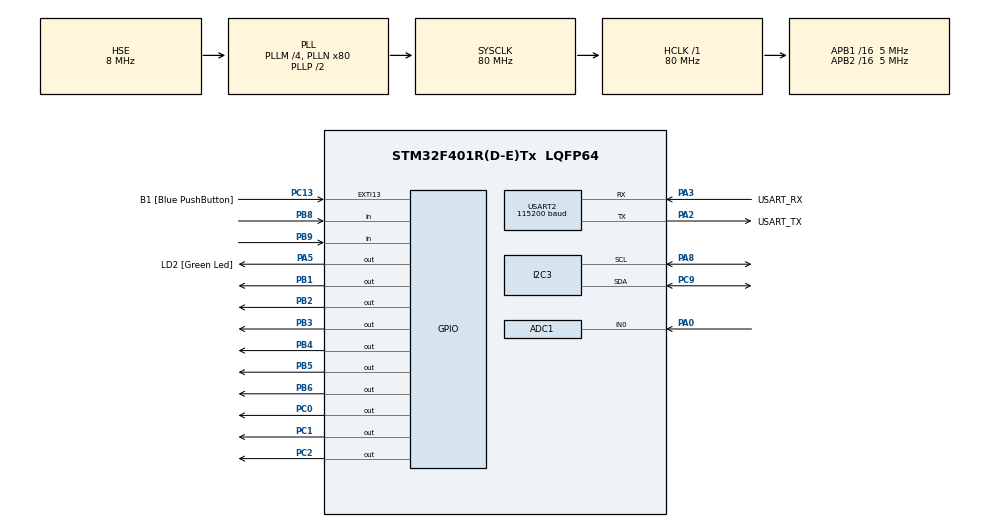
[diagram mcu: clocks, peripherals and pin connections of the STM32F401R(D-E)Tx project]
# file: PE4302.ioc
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ADC1.Channel-0\#ChannelRegularConversion=ADC_CHANNEL_0
ADC1.NbrOfConversionFlag=1
ADC1.Rank-0\#ChannelRegularConversion=1
ADC1.SamplingTime-0\#ChannelRegularConversion=ADC_SAMPLETIME_3CYCLES
ADC1.master=1
Mcu.Family=STM32F4
Mcu.Name=STM32F401R(D-E)Tx
Mcu.Package=LQFP64
NVIC.PriorityGroup=NVIC_PRIORITYGROUP_0
NVIC.TIM3_IRQn=true\:0\:0\:false\:false\:true\:true\:true\:true
PA0-WKUP.Signal=ADCx_IN0
PA13.GPIO_Label=TMS
PA13.Mode=Serial_Wire
PA13.Signal=SYS_JTMS-SWDIO
PA14.GPIO_Label=TCK
PA14.Mode=Serial_Wire
PA14.Signal=SYS_JTCK-SWCLK
PA2.GPIO_Label=USART_TX
PA2.GPIO_Mode=GPIO_MODE_AF_PP
PA2.GPIO_PuPd=GPIO_NOPULL
PA2.GPIO_Speed=GPIO_SPEED_FREQ_LOW
PA2.Mode=Asynchronous
PA2.Signal=USART2_TX
PA3.GPIO_Label=USART_RX
PA3.GPIO_Mode=GPIO_MODE_AF_PP
PA3.GPIO_PuPd=GPIO_NOPULL
PA3.GPIO_Speed=GPIO_SPEED_FREQ_LOW
PA3.Mode=Asynchronous
PA3.Signal=USART2_RX
PA5.GPIO_Label=LD2 [Green Led]
PA5.GPIO_Mode=GPIO_MODE_OUTPUT_PP
PA5.GPIO_PuPd=GPIO_NOPULL
PA5.GPIO_Speed=GPIO_SPEED_FREQ_LOW
PA5.Signal=GPIO_Output
PA8.Mode=I2C
PA8.Signal=I2C3_SCL
PB1.GPIO_ModeDefaultOutputPP=GPIO_MODE_OUTPUT_PP
PB1.GPIO_PuPd=GPIO_NOPULL
PB1.PinState=GPIO_PIN_SET
PB1.Signal=GPIO_Output
PB2.GPIO_ModeDefaultOutputPP=GPIO_MODE_OUTPUT_PP
PB2.GPIO_PuPd=GPIO_NOPULL
PB2.PinState=GPIO_PIN_SET
PB2.Signal=GPIO_Output
PB3.GPIO_ModeDefaultOutputPP=GPIO_MODE_OUTPUT_PP
PB3.GPIO_PuPd=GPIO_NOPULL
PB3.Signal=GPIO_Output
PB4.GPIO_ModeDefaultOutputPP=GPIO_MODE_OUTPUT_PP
PB4.GPIO_PuPd=GPIO_NOPULL
PB4.Signal=GPIO_Output
PB5.GPIO_ModeDefaultOutputPP=GPIO_MODE_OUTPUT_PP
PB5.GPIO_PuPd=GPIO_NOPULL
PB5.Signal=GPIO_Output
PB6.GPIO_ModeDefaultOutputPP=GPIO_MODE_OUTPUT_PP
PB6.GPIO_PuPd=GPIO_NOPULL
PB6.Signal=GPIO_Output
PB8.GPIO_PuPd=GPIO_PULLUP
PB8.Signal=GPIO_Input
PB9.GPIO_PuPd=GPIO_PULLUP
PB9.Signal=GPIO_Input
PC0.GPIO_ModeDefaultOutputPP=GPIO_MODE_OUTPUT_PP
PC0.GPIO_PuPd=GPIO_NOPULL
PC0.Signal=GPIO_Output
PC1.GPIO_ModeDefaultOutputPP=GPIO_MODE_OUTPUT_PP
PC1.GPIO_PuPd=GPIO_NOPULL
PC1.Signal=GPIO_Output
PC13-ANTI_TAMP.GPIO_Label=B1 [Blue PushButton]
PC13-ANTI_TAMP.GPIO_ModeDefaultEXTI=GPIO_MODE_IT_FALLING
PC13-ANTI_TAMP.GPIO_PuPd=GPIO_NOPULL
PC13-ANTI_TAMP.Signal=GPXTI13
PC14-OSC32_IN.Mode=LSE-External-Oscillator
PC14-OSC32_IN.Signal=RCC_OSC32_IN
PC15-OSC32_OUT.Mode=LSE-External-Oscillator
PC15-OSC32_OUT.Signal=RCC_OSC32_OUT
PC2.GPIO_ModeDefaultOutputPP=GPIO_MODE_OUTPUT_PP
PC2.GPIO_PuPd=GPIO_NOPULL
PC2.Signal=GPIO_Output
PC9.Mode=I2C
PC9.Signal=I2C3_SDA
PH0\ -\ OSC_IN.Mode=HSE-External-Clock-Source
PH0\ -\ OSC_IN.Signal=RCC_OSC_IN
PH1\ -\ OSC_OUT.Mode=HSE-External-Clock-Source
PH1\ -\ OSC_OUT.Signal=RCC_OSC_OUT
ProjectManager.HeapSize=0x200
ProjectManager.StackSize=0x400
ProjectManager.TargetToolchain=STM32CubeIDE
RCC.48MHZClocksFreq_Value=22857142.85714286
RCC.AHBFreq_Value=80000000
RCC.APB1CLKDivider=RCC_HCLK_DIV16
RCC.APB1Freq_Value=5000000
RCC.APB1TimFreq_Value=10000000
RCC.APB2CLKDivider=RCC_HCLK_DIV16
RCC.APB2Freq_Value=5000000
RCC.APB2TimFreq_Value=10000000
RCC.CortexFreq_Value=80000000
RCC.HCLKFreq_Value=80000000
RCC.HSE_VALUE=8000000
RCC.HSI_VALUE=16000000
RCC.PLLM=4
RCC.PLLN=80
RCC.PLLQ=7
RCC.PLLSourceVirtual=RCC_PLLSOURCE_HSE
RCC.SYSCLKFreq_VALUE=80000000
RCC.SYSCLKSource=RCC_SYSCLKSOURCE_PLLCLK
RCC.VCOOutputFreq_Value=160000000
SH.ADCx_IN0.0=ADC1_IN0,IN0
TIM3.AutoReloadPreload=TIM_AUTORELOAD_PRELOAD_ENABLE
TIM3.Period=100-1
TIM3.Prescaler=100
USART2.BaudRate=115200
USART2.VirtualMode=VM_ASYNC
VP_TIM3_VS_ClockSourceINT.Mode=Internal
board=NUCLEO-F401RE

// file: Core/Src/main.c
/* USER CODE BEGIN Header */
/**
  ******************************************************************************
  * @file           : main.c
  * @brief          : Main program body
  ******************************************************************************
  * @attention
  *
  * Copyright (c) 2025 STMicroelectronics.
  * All rights reserved.
  *
  * This software is licensed under terms that can be found in the LICENSE file
  * in the root directory of this software component.
  * If no LICENSE file comes with this software, it is provided AS-IS.
  *
  ******************************************************************************
  */
/* USER CODE END Header */
#include "main.h"
#include <string.h>
#include "si5351.h"
#include "fonts.h"
#include "SSD1306.h"

#include "adc.h"
/* USER CODE END Includes */

 ADC_HandleTypeDef hadc1;

I2C_HandleTypeDef hi2c3;

TIM_HandleTypeDef htim3;

UART_HandleTypeDef huart2;

/* USER CODE BEGIN PV */
extern TIM_HandleTypeDef htim3;
/* USER CODE END PV */

void SystemClock_Config(void);
static void MX_GPIO_Init(void);
static void MX_TIM3_Init(void);
static void MX_I2C3_Init(void);
static void MX_USART2_UART_Init(void);
static void MX_ADC1_Init(void);
/* USER CODE BEGIN PFP */
//factor de correcion de medicion
uint16_t correction_dbm=3.2;
uint16_t corection_antenna_dbm=0; //Correccion por perdidas de antena
// Pines BCD → decodificador 7-seg
#define D0_PIN   GPIO_PIN_3  // BIT0 → PB3
#define D1_PIN   GPIO_PIN_4  // BIT1 → PB4
#define D2_PIN   GPIO_PIN_5  // BIT2 → PB5
#define D3_PIN   GPIO_PIN_6  // BIT3 → PB6
#define D_PORT   GPIOB

// Pines de latch para cada dígito
#define LATCH_HIGH_DIGIT_PIN   GPIO_PIN_2  // decenas → PB2
#define LATCH_LOW_DIGIT_PIN    GPIO_PIN_1  // unidades → PB1
#define LATCH_PORT             GPIOB

/* USER CODE END PFP */

/* USER CODE BEGIN 0 */
// Variables globales
volatile uint16_t data_to_send = 0b111111;  // Dato de 6 bits; // Emipieza con 33db de atenuacion
volatile uint16_t aux = 0;
volatile uint8_t bit_index = 5;
volatile uint8_t sending = 0;
uint32_t  last_up_ms    = 0;
uint32_t  last_down_ms  = 0;
uint16_t samples=200;
uint16_t RFIN=0;
uint16_t voltaje_mV=0;
#define   DEBOUNCE_MS   200U
#define MAX_ATT 63
#define MIN_ATT 1

static void init(void);
static void UART_TransmitString(const char* str);
static void I2C_Scan(void);
static void loop(void);

/* USER CODE END 0 */

int main(void)
{

  /* MCU Configuration--------------------------------------------------------*/

  /* Reset of all peripherals, Initializes the Flash interface and the Systick. */
   HAL_Init();

  /* Configure the system clock */
  SystemClock_Config();

  /* Initialize all configured peripherals */
  MX_GPIO_Init();
  MX_TIM3_Init();
  MX_I2C3_Init();
  MX_USART2_UART_Init();
  MX_ADC1_Init();
  OLED_init();
  /* USER CODE BEGIN 2 */
  HAL_TIM_Base_Start_IT(&htim3);
  HAL_Delay(10);  // pequeña espera por seguridad

  void UART_TransmitString(const char* str) {
        HAL_UART_Transmit(&huart2, (uint8_t*)str, strlen(str), HAL_MAX_DELAY);
    }

    void I2C_Scan() {
    	UART_TransmitString("Scanning I2C bus...\r\n");
        HAL_StatusTypeDef res;
        for(uint16_t i = 0; i < 128; i++) {
            res = HAL_I2C_IsDeviceReady(&hi2c3, i << 1, 1, 10);
            if(res == HAL_OK) {
                char msg[64];
                snprintf(msg, sizeof(msg), "0x%02X", i);
    			UART_TransmitString(msg);
            } else {
    			UART_TransmitString(".");
            }
        }

    	UART_TransmitString("\r\n");
    }

    void init3() {
        UART_TransmitString("Calling I2C_Scan()...\r\n");
    	I2C_Scan();

        UART_TransmitString("Initializing Si5351...\r\n");
    	const int32_t correction = 11300;
    	si5351_Init(correction);
    	si5351_SetupCLK0(53000000, SI5351_DRIVE_STRENGTH_2MA);
    	si5351_EnableOutputs(1 << 0);

        UART_TransmitString("Ready!\r\n");
    }

  /* USER CODE END 2 */

  /* Infinite loop */
  /* USER CODE BEGIN WHILE */
    init3();
    char buffer[20];

   // --- Encabezado Display ---  //
    OLED_print_text(28, 0, "Potencia", &font1);
    OLED_print_text(35, 2, "Medida:", &font1);

    while (1)
  {
    	RFIN = Get_ADC_Average(samples);
    	voltaje_mV = (RFIN * 3300UL) / 4095;
      	float potin = (((voltaje_mV - 2319) / 0.02503f)/1000)+data_to_send/2-correction_dbm+corection_antenna_dbm;//el factor de correccion de antena es para eliminar la posible desadaptacion con el filtro pasa banda de la entrada (Pequeña)
        sprintf(buffer, "%.1f dBm", potin);
      	OLED_print_text(20, 4, (uint8_t*)buffer, &font1);
      	float att_db = data_to_send * 0.5f;   // cada paso = 0.5 dB la idea es mostrar el atenuador en el display
      	sprintf(buffer, "Att: %.1f dB", att_db);
      	OLED_print_text(5, 6, (uint8_t*)buffer, &font1);
    	Check_Atte();
    	CheckButtonsAndUpdate();
    /* USER CODE END WHILE */

  }
}

void SystemClock_Config(void)
{
  RCC_OscInitTypeDef RCC_OscInitStruct = {0};
  RCC_ClkInitTypeDef RCC_ClkInitStruct = {0};

  /** Configure the main internal regulator output voltage
  */
  __HAL_RCC_PWR_CLK_ENABLE();
  __HAL_PWR_VOLTAGESCALING_CONFIG(PWR_REGULATOR_VOLTAGE_SCALE2);

  /** Initializes the RCC Oscillators according to the specified parameters
  * in the RCC_OscInitTypeDef structure.
  */
  RCC_OscInitStruct.OscillatorType = RCC_OSCILLATORTYPE_HSE;
  RCC_OscInitStruct.HSEState = RCC_HSE_BYPASS;
  RCC_OscInitStruct.PLL.PLLState = RCC_PLL_ON;
  RCC_OscInitStruct.PLL.PLLSource = RCC_PLLSOURCE_HSE;
  RCC_OscInitStruct.PLL.PLLM = 4;
  RCC_OscInitStruct.PLL.PLLN = 80;
  RCC_OscInitStruct.PLL.PLLP = RCC_PLLP_DIV2;
  RCC_OscInitStruct.PLL.PLLQ = 7;
  if (HAL_RCC_OscConfig(&RCC_OscInitStruct) != HAL_OK)
  {
    Error_Handler();
  }

  /** Initializes the CPU, AHB and APB buses clocks
  */
  RCC_ClkInitStruct.ClockType = RCC_CLOCKTYPE_HCLK|RCC_CLOCKTYPE_SYSCLK
                              |RCC_CLOCKTYPE_PCLK1|RCC_CLOCKTYPE_PCLK2;
  RCC_ClkInitStruct.SYSCLKSource = RCC_SYSCLKSOURCE_PLLCLK;
  RCC_ClkInitStruct.AHBCLKDivider = RCC_SYSCLK_DIV1;
  RCC_ClkInitStruct.APB1CLKDivider = RCC_HCLK_DIV16;
  RCC_ClkInitStruct.APB2CLKDivider = RCC_HCLK_DIV16;

  if (HAL_RCC_ClockConfig(&RCC_ClkInitStruct, FLASH_LATENCY_2) != HAL_OK)
  {
    Error_Handler();
  }
}

static void MX_ADC1_Init(void)
{

  ADC_ChannelConfTypeDef sConfig = {0};

  /** Configure the global features of the ADC (Clock, Resolution, Data Alignment and number of conversion)
  */
  hadc1.Instance = ADC1;
  hadc1.Init.ClockPrescaler = ADC_CLOCK_SYNC_PCLK_DIV2;
  hadc1.Init.Resolution = ADC_RESOLUTION_12B;
  hadc1.Init.ScanConvMode = DISABLE;
  hadc1.Init.ContinuousConvMode = DISABLE;
  hadc1.Init.DiscontinuousConvMode = DISABLE;
  hadc1.Init.ExternalTrigConvEdge = ADC_EXTERNALTRIGCONVEDGE_NONE;
  hadc1.Init.ExternalTrigConv = ADC_SOFTWARE_START;
  hadc1.Init.DataAlign = ADC_DATAALIGN_RIGHT;
  hadc1.Init.NbrOfConversion = 1;
  hadc1.Init.DMAContinuousRequests = DISABLE;
  hadc1.Init.EOCSelection = ADC_EOC_SINGLE_CONV;
  if (HAL_ADC_Init(&hadc1) != HAL_OK)
  {
    Error_Handler();
  }

  /** Configure for the selected ADC regular channel its corresponding rank in the sequencer and its sample time.
  */
  sConfig.Channel = ADC_CHANNEL_0;
  sConfig.Rank = 1;
  sConfig.SamplingTime = ADC_SAMPLETIME_3CYCLES;
  if (HAL_ADC_ConfigChannel(&hadc1, &sConfig) != HAL_OK)
  {
    Error_Handler();
  }

}

static void MX_I2C3_Init(void)
{

  hi2c3.Instance = I2C3;
  hi2c3.Init.ClockSpeed = 400000;
  hi2c3.Init.DutyCycle = I2C_DUTYCYCLE_2;
  hi2c3.Init.OwnAddress1 = 0;
  hi2c3.Init.AddressingMode = I2C_ADDRESSINGMODE_7BIT;
  hi2c3.Init.DualAddressMode = I2C_DUALADDRESS_DISABLE;
  hi2c3.Init.OwnAddress2 = 0;
  hi2c3.Init.GeneralCallMode = I2C_GENERALCALL_DISABLE;
  hi2c3.Init.NoStretchMode = I2C_NOSTRETCH_DISABLE;
  if (HAL_I2C_Init(&hi2c3) != HAL_OK)
  {
    Error_Handler();
  }

}

static void MX_TIM3_Init(void)
{

  TIM_ClockConfigTypeDef sClockSourceConfig = {0};
  TIM_MasterConfigTypeDef sMasterConfig = {0};

  htim3.Instance = TIM3;
  htim3.Init.Prescaler = 100;
  htim3.Init.CounterMode = TIM_COUNTERMODE_UP;
  htim3.Init.Period = 100-1;
  htim3.Init.ClockDivision = TIM_CLOCKDIVISION_DIV1;
  htim3.Init.AutoReloadPreload = TIM_AUTORELOAD_PRELOAD_ENABLE;
  if (HAL_TIM_Base_Init(&htim3) != HAL_OK)
  {
    Error_Handler();
  }
  sClockSourceConfig.ClockSource = TIM_CLOCKSOURCE_INTERNAL;
  if (HAL_TIM_ConfigClockSource(&htim3, &sClockSourceConfig) != HAL_OK)
  {
    Error_Handler();
  }
  sMasterConfig.MasterOutputTrigger = TIM_TRGO_RESET;
  sMasterConfig.MasterSlaveMode = TIM_MASTERSLAVEMODE_DISABLE;
  if (HAL_TIMEx_MasterConfigSynchronization(&htim3, &sMasterConfig) != HAL_OK)
  {
    Error_Handler();
  }

}

static void MX_USART2_UART_Init(void)
{

  huart2.Instance = USART2;
  huart2.Init.BaudRate = 115200;
  huart2.Init.WordLength = UART_WORDLENGTH_8B;
  huart2.Init.StopBits = UART_STOPBITS_1;
  huart2.Init.Parity = UART_PARITY_NONE;
  huart2.Init.Mode = UART_MODE_TX_RX;
  huart2.Init.HwFlowCtl = UART_HWCONTROL_NONE;
  huart2.Init.OverSampling = UART_OVERSAMPLING_16;
  if (HAL_UART_Init(&huart2) != HAL_OK)
  {
    Error_Handler();
  }

}

static void MX_GPIO_Init(void)
{
  GPIO_InitTypeDef GPIO_InitStruct = {0};

  /* GPIO Ports Clock Enable */
  __HAL_RCC_GPIOC_CLK_ENABLE();
  __HAL_RCC_GPIOH_CLK_ENABLE();
  __HAL_RCC_GPIOA_CLK_ENABLE();
  __HAL_RCC_GPIOB_CLK_ENABLE();

  /*Configure GPIO pin Output Level */
  HAL_GPIO_WritePin(GPIOC, GPIO_PIN_0|GPIO_PIN_1|GPIO_PIN_2, GPIO_PIN_RESET);

  /*Configure GPIO pin Output Level */
  HAL_GPIO_WritePin(LD2_GPIO_Port, LD2_Pin, GPIO_PIN_RESET);

  /*Configure GPIO pin Output Level */
  HAL_GPIO_WritePin(GPIOB, GPIO_PIN_1|GPIO_PIN_2, GPIO_PIN_SET);

  /*Configure GPIO pin Output Level */
  HAL_GPIO_WritePin(GPIOB, GPIO_PIN_3|GPIO_PIN_4|GPIO_PIN_5|GPIO_PIN_6, GPIO_PIN_RESET);

  /*Configure GPIO pin : B1_Pin */
  GPIO_InitStruct.Pin = B1_Pin;
  GPIO_InitStruct.Mode = GPIO_MODE_IT_FALLING;
  GPIO_InitStruct.Pull = GPIO_NOPULL;
  HAL_GPIO_Init(B1_GPIO_Port, &GPIO_InitStruct);

  /*Configure GPIO pins : PC0 PC1 PC2 */
  GPIO_InitStruct.Pin = GPIO_PIN_0|GPIO_PIN_1|GPIO_PIN_2;
  GPIO_InitStruct.Mode = GPIO_MODE_OUTPUT_PP;
  GPIO_InitStruct.Pull = GPIO_NOPULL;
  GPIO_InitStruct.Speed = GPIO_SPEED_FREQ_LOW;
  HAL_GPIO_Init(GPIOC, &GPIO_InitStruct);

  /*Configure GPIO pin : LD2_Pin */
  GPIO_InitStruct.Pin = LD2_Pin;
  GPIO_InitStruct.Mode = GPIO_MODE_OUTPUT_PP;
  GPIO_InitStruct.Pull = GPIO_NOPULL;
  GPIO_InitStruct.Speed = GPIO_SPEED_FREQ_LOW;
  HAL_GPIO_Init(LD2_GPIO_Port, &GPIO_InitStruct);

  /*Configure GPIO pins : PB1 PB2 PB3 PB4
                           PB5 PB6 */
  GPIO_InitStruct.Pin = GPIO_PIN_1|GPIO_PIN_2|GPIO_PIN_3|GPIO_PIN_4
                          |GPIO_PIN_5|GPIO_PIN_6;
  GPIO_InitStruct.Mode = GPIO_MODE_OUTPUT_PP;
  GPIO_InitStruct.Pull = GPIO_NOPULL;
  GPIO_InitStruct.Speed = GPIO_SPEED_FREQ_LOW;
  HAL_GPIO_Init(GPIOB, &GPIO_InitStruct);

  /*Configure GPIO pins : PB8 PB9 */
  GPIO_InitStruct.Pin = GPIO_PIN_8|GPIO_PIN_9;
  GPIO_InitStruct.Mode = GPIO_MODE_INPUT;
  GPIO_InitStruct.Pull = GPIO_PULLUP;
  HAL_GPIO_Init(GPIOB, &GPIO_InitStruct);

}

/* USER CODE BEGIN 4 */
void Check_Atte(void)
{
	if (voltaje_mV > 1800)
		{
		data_to_send=63; //Pongo maxima atenuacion por proteccion
		HAL_TIM_Base_Start_IT(&htim3);  // activa TIM3 si hay cambio
		UpdateDisplays();
		}

	if (voltaje_mV >1300 && voltaje_mV <1800)
		{
			add_att();
		}
	if (voltaje_mV > 0 && voltaje_mV <1000)
	{
		dec_att();

	}

}
void add_att(void)
{
	if(data_to_send==60)
		data_to_send=63;

	if(data_to_send<55)
		data_to_send=data_to_send+10; //incremento 5db

	HAL_TIM_Base_Start_IT(&htim3);  // activa TIM3 si hay cambio
	UpdateDisplays();

}
void dec_att(void)
{
	if(data_to_send<=5)
			data_to_send=0;

		if(data_to_send>5)
			data_to_send=data_to_send-10; //decremento 5db

		HAL_TIM_Base_Start_IT(&htim3);  // activa TIM3 si hay cambio
		UpdateDisplays();

}
void CheckButtonsAndUpdate(void)
{
    uint32_t now = HAL_GetTick();

    // Verifica botón PB8 (subir)
    if (HAL_GPIO_ReadPin(GPIOB, GPIO_PIN_8) == GPIO_PIN_RESET)
    {
        if ((now - last_up_ms) > DEBOUNCE_MS && data_to_send < MAX_ATT)
        {
            data_to_send++;
            last_up_ms = now;
            HAL_TIM_Base_Start_IT(&htim3);  // activa TIM3 si hay cambio
        }
    }

    // Verifica botón PB9 (bajar)
    if (HAL_GPIO_ReadPin(GPIOB, GPIO_PIN_9) == GPIO_PIN_RESET)
    {
        if ((now - last_down_ms) > DEBOUNCE_MS && data_to_send > MIN_ATT)
        {
            data_to_send--;
            last_down_ms = now;
            HAL_TIM_Base_Start_IT(&htim3);  // activa TIM3 si hay cambio
        }
    }
}
void SendBit_Handler(void)
	{
		if (data_to_send != aux)
		{

	    if (sending == 0)
	    {
	        // Inicio del envío: poner LE en bajo
	        HAL_GPIO_WritePin(GPIOC, GPIO_PIN_2, GPIO_PIN_RESET); // LE = 0

	    }

	    if (bit_index >= 0)
	    {
	        // Escribir el bit actual
	        uint8_t bit = (data_to_send >> bit_index) & 0x01;
	        HAL_GPIO_WritePin(GPIOC, GPIO_PIN_0, bit ? GPIO_PIN_SET : GPIO_PIN_RESET); // DATA

	        // Generar pulso de CLOCK
	        // breve retardo por software
	            for (volatile int i = 0; i < 10; i++);
	        HAL_GPIO_WritePin(GPIOC, GPIO_PIN_1, GPIO_PIN_SET);   // CLOCK = 1
	        // breve retardo por software
	            for (volatile int i = 0; i < 10; i++);
	        HAL_GPIO_WritePin(GPIOC, GPIO_PIN_1, GPIO_PIN_RESET); // CLOCK = 0

	        bit_index--;
	    }

	    // Si terminó el último bit, generar LE
	            if (bit_index == 255)
	            {
	                HAL_GPIO_WritePin(GPIOC, GPIO_PIN_2, GPIO_PIN_SET); // LE = 1
	                sending = 1;
	                bit_index = 5; // MSB primero
	                UpdateDisplays(data_to_send);
	                aux=data_to_send;
	                HAL_TIM_Base_Stop_IT(&htim3);

	            }
		}

	    }

static void send_nibble_and_latch(uint8_t bcd, uint16_t latch_pin)
{
    // 1) Coloca los 4 bits BCD en PB3–PB6
    HAL_GPIO_WritePin(D_PORT, D0_PIN, (bcd & 0x01) ? GPIO_PIN_SET : GPIO_PIN_RESET);
    HAL_GPIO_WritePin(D_PORT, D1_PIN, (bcd & 0x02) ? GPIO_PIN_SET : GPIO_PIN_RESET);
    HAL_GPIO_WritePin(D_PORT, D2_PIN, (bcd & 0x04) ? GPIO_PIN_SET : GPIO_PIN_RESET);
    HAL_GPIO_WritePin(D_PORT, D3_PIN, (bcd & 0x08) ? GPIO_PIN_SET : GPIO_PIN_RESET);

    // 2) Pulso de latch (SET→small delay→RESET)
    HAL_GPIO_WritePin(LATCH_PORT, latch_pin, GPIO_PIN_RESET);
    // breve retardo por software
    for (volatile int i = 0; i < 50; i++);

    HAL_GPIO_WritePin(LATCH_PORT, latch_pin, GPIO_PIN_SET);
}

/**
 * @brief   Actualiza los dos displays para mostrar data_to_send*0.5.
 *          data_to_send va de 1 (0.5) hasta 62 (31.0).
 * @param   data_to_send  Valor de 6 bits (1…62)
 */
void UpdateDisplays(void)
{
    uint16_t scaled;
    uint8_t  high, low;

    // 1) Escala a media unidad: data_to_send * 0.5 = (data_to_send * 5) / 10
    scaled = data_to_send>>1;  // rango 5…310

    // 2) Obtén dígitos decimal
    high = (scaled / 10);  // decenas
    low  = (scaled % 10);       // unidades

    // 3) Envía y latch al dígito “unidades�? (PB1)
    send_nibble_and_latch(low, LATCH_LOW_DIGIT_PIN);

    // 4) Envía y latch al dígito “decenas�? (PB2)
    send_nibble_and_latch(high, LATCH_HIGH_DIGIT_PIN);
}

void HAL_TIM_PeriodElapsedCallback(TIM_HandleTypeDef *htim)
{
  /* Prevent unused argument(s) compilation warning */
	{
	    if (htim->Instance == TIM3) // Ejemplo: usando TIM3
	    {
	         SendBit_Handler(); // Se llama cada vez que ocurra la interrupción
	    }
	}

	}
  /* NOTE : This function should not be modified, when the callback is needed,
            the HAL_TIM_PeriodElapsedCallback could be implemented in the user file
   */

/* USER CODE END 4 */

void Error_Handler(void)
{
  __disable_irq();
  while (1)
  {
  }
}
